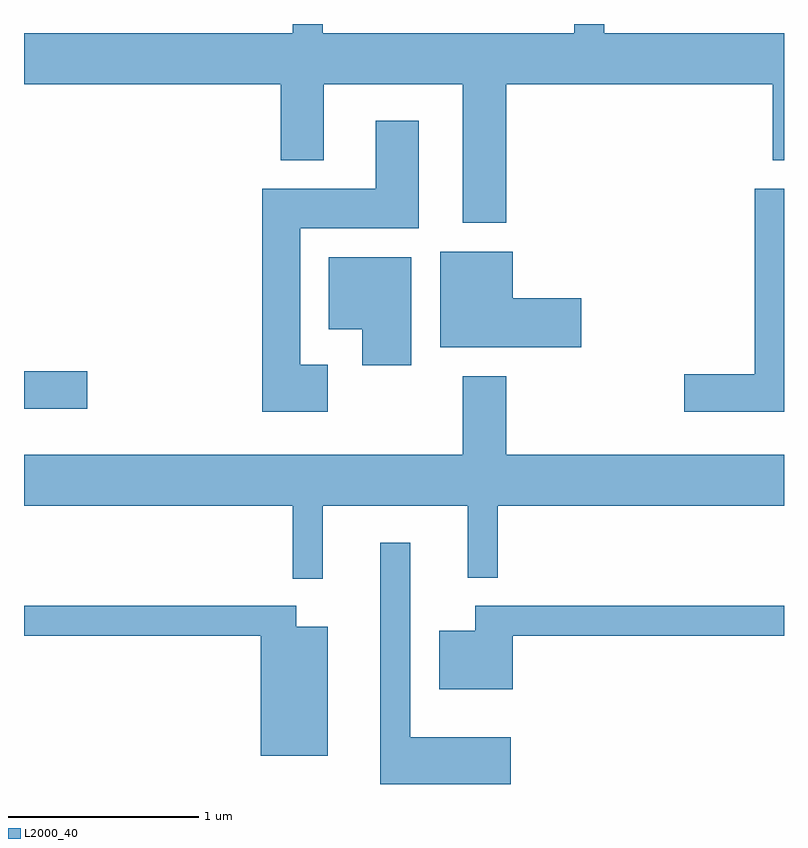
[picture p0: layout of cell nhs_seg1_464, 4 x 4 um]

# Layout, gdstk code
import gdstk
lib = gdstk.Library(unit=1e-6, precision=1e-09)
def R(c, l, rs):  # rectangles x0, y0, x1, y1
    for r in rs: c.add(gdstk.rectangle(r[:2], r[2:], *l))
def P(c, l, *ps):  # polygons
    for p in ps: c.add(gdstk.Polygon(p, *l))
L2000_40 = (2000, 40)

nhs_seg1_464 = lib.new_cell('nhs_seg1_464')
R(nhs_seg1_464, L2000_40, [(199.611,855.686,199.944,855.884)])
P(nhs_seg1_464, L2000_40, [(202.149,857.396),(203.551,857.396),(203.551,856.996),(203.611,856.996),(203.611,857.664),(202.664,857.664),(202.664,857.712),(202.506,857.712),(202.506,857.664),(201.184,857.664),(201.184,857.712),(201.026,857.712),(201.026,857.664),(199.611,857.664),(199.611,857.396),(200.961,857.396),(200.961,856.996),(201.189,856.996),(201.189,857.396),(201.921,857.396),(201.921,856.666),(202.149,856.666)],
  [(201.209,855.919),(201.064,855.919),(201.064,856.636),(201.689,856.636),(201.689,857.204),(201.461,857.204),(201.461,856.844),(200.866,856.844),(200.866,855.671),(201.209,855.671)],
  [(203.611,856.844),(203.456,856.844),(203.456,855.869),(203.086,855.869),(203.086,855.671),(203.611,855.671)],
  [(202.544,856.269),(202.184,856.269),(202.184,856.514),(201.801,856.514),(201.801,856.011),(202.544,856.011)],
  [(201.649,856.484),(201.216,856.484),(201.216,856.106),(201.391,856.106),(201.391,855.916),(201.649,855.916)],
  [(201.184,855.176),(201.946,855.176),(201.946,854.798),(202.104,854.798),(202.104,855.176),(203.611,855.176),(203.611,855.444),(202.149,855.444),(202.149,855.859),(201.921,855.859),(201.921,855.444),(199.611,855.444),(199.611,855.176),(201.026,855.176),(201.026,854.793),(201.184,854.793)],
  [(202.174,853.959),(201.644,853.959),(201.644,854.983),(201.486,854.983),(201.486,853.712),(202.174,853.712)],
  [(202.184,854.491),(203.611,854.491),(203.611,854.649),(201.986,854.649),(201.986,854.519),(201.796,854.519),(201.796,854.211),(202.184,854.211)],
  [(201.209,854.539),(201.044,854.539),(201.044,854.649),(199.611,854.649),(199.611,854.491),(200.856,854.491),(200.856,853.861),(201.209,853.861)])

lib.write_gds('nhs_seg1_464.gds')
